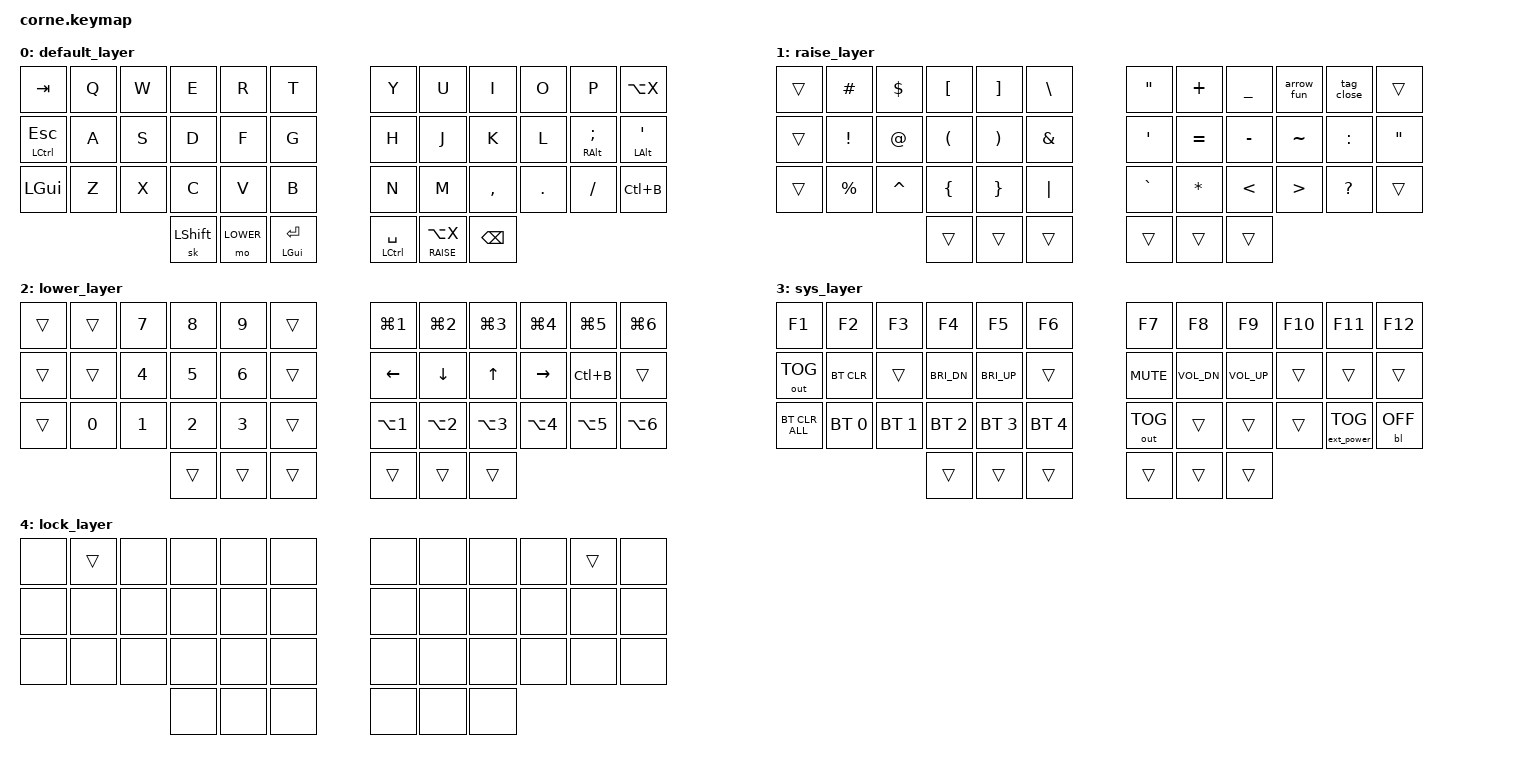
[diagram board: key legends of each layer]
#include <behaviors.dtsi>
#include <dt-bindings/zmk/keys.h>
#include <dt-bindings/zmk/bt.h>
#include <dt-bindings/zmk/backlight.h>
#include <dt-bindings/zmk/rgb.h>
#include <dt-bindings/zmk/ext_power.h>
#include <dt-bindings/zmk/outputs.h>

#define DEFAULT 0
#define RAISE   1
#define LOWER   2
#define SYS     3
#define LOCK    4

&mt {
    quick-tap-ms = <100>;
    tapping-term-ms = <220>;
    flavor = "tap-preferred";
};

&lt {
    quick-tap-ms = <100>;
    tapping-term-ms = <220>;
    flavor = "hold-preferred";
};

/ {
    macros {
        tmux_one: tmux_one {
            label = "tmux prefix";
            compatible = "zmk,behavior-macro";
            #binding-cells = <0>;
            bindings
                = <&macro_tap &kp LC(B)>
                , <&macro_tap &kp NUMBER_1>
                ;
        };

        tmux_two: tmux_two {
            label = "tmux prefix";
            compatible = "zmk,behavior-macro";
            #binding-cells = <0>;
            bindings
                = <&macro_tap &kp LC(B)>
                , <&macro_tap &kp NUMBER_2>
                ;
        };

        tmux_three: tmux_three {
            label = "tmux prefix";
            compatible = "zmk,behavior-macro";
            #binding-cells = <0>;
            bindings
                = <&macro_tap &kp LC(B)>
                , <&macro_tap &kp NUMBER_3>
                ;
        };

        tmux_four: tmux_four {
            label = "tmux prefix";
            compatible = "zmk,behavior-macro";
            #binding-cells = <0>;
            bindings
                = <&macro_tap &kp LC(B)>
                , <&macro_tap &kp NUMBER_4>
                ;
        };

        tmux_five: tmux_five {
            label = "tmux prefix";
            compatible = "zmk,behavior-macro";
            #binding-cells = <0>;
            bindings
                = <&macro_tap &kp LC(B)>
                , <&macro_tap &kp NUMBER_5>
                ;
        };

        tmux_six: tmux_six {
            label = "tmux prefix";
            compatible = "zmk,behavior-macro";
            #binding-cells = <0>;
            bindings
                = <&macro_tap &kp LC(B)>
                , <&macro_tap &kp NUMBER_6>
                ;
        };

        arrow_fun: arrow_fun {
            label = "arrow fun";
            compatible = "zmk,behavior-macro";
            #binding-cells = <0>;
            bindings
                = <&kp EQUAL &kp GT &kp SPACE>;
        };

        tag_close: tag_close {
            label = "tag close";
            compatible = "zmk,behavior-macro";
            #binding-cells = <0>;
            bindings
                = <&kp FSLH &kp GT>;
        };

        tmux_copy_mode: tmux_copy_mode {
            label = "tmux copy mode";
            compatible = "zmk,behavior-macro";
            #binding-cells = <0>;
            bindings
                = <&macro_tap &kp LC(B)>
                , <&macro_tap &kp LBKT>
                ;
        };

    };
};

/ {
    combos {
        compatible = "zmk,combos";
        combo_lock {
            timeout-ms = <50>;
            key-positions = <1 10>;
            bindings = <&tog LOCK>;
        };
        combo_unlock {
            timeout-ms = <1000>;
            key-positions = <1 10>;
            layers = <LOCK>;
            bindings = <&tog LOCK>;
        };

    };
};

/ {
    conditional_layers {
        compatible = "zmk,conditional-layers";
        tri_layer {
            if-layers = <LOWER RAISE>;
            then-layer = <SYS>;
        };
    };
}; 

/ {
        keymap {
                compatible = "zmk,keymap";

                default_layer {
                        bindings = <
   &kp TAB       &kp Q &kp W &kp E &kp R &kp T   &kp Y &kp U  &kp I     &kp O        &kp P         &kp LA(X)
   &mt LCTRL ESC &kp A &kp S &kp D &kp F &kp G   &kp H &kp J  &kp K     &kp L        &mt RALT SEMI &mt LALT SQT
   &kp LGUI      &kp Z &kp X &kp C &kp V &kp B   &kp N &kp M  &kp COMMA &kp DOT      &kp FSLH      &kp LC(B)
              &sk LSHFT &mo LOWER &mt LGUI RET   &mt LCTRL SPACE &lt RAISE LA(X) &kp BSPC
                        >;
                };

                raise_layer {
                        bindings = <
   &trans &kp HASH  &kp DOLLAR &kp LBKT &kp RBKT &kp BSLH     &kp DQT    &kp PLUS  &kp UNDER &arrow_fun &tag_close &trans
   &trans &kp EXCL  &kp AT     &kp LPAR &kp RPAR &kp AMPS     &kp APOS   &kp EQUAL &kp MINUS &kp TILDE  &kp COLON  &kp DQT
   &trans &kp PRCNT &kp CARET  &kp LBRC &kp RBRC &kp PIPE     &kp GRAVE  &kp STAR  &kp LT    &kp GT     &kp QMARK  &trans
                                   &trans &trans &trans       &trans &trans &trans
                        >;
                };

                lower_layer {
                        bindings = <
   &trans &trans &kp N7 &kp N8 &kp N9 &trans   &kp LG(NUMBER_1) &kp LG(NUMBER_2) &kp LG(NUMBER_3) &kp LG(NUMBER_4) &kp LG(NUMBER_5) &kp LG(NUMBER_6)
   &trans &trans &kp N4 &kp N5 &kp N6 &trans   &kp LEFT             &kp DOWN             &kp UP               &kp RIGHT            &kp LC(B)            &trans
   &trans &kp N0 &kp N1 &kp N2 &kp N3 &trans   &kp LA(NUMBER_1)     &kp LA(NUMBER_2)     &kp LA(NUMBER_3)     &kp LA(NUMBER_4)     &kp LA(NUMBER_5)     &kp LA(NUMBER_6)
                        &trans &trans &trans   &trans &trans &trans
                        >;
                };

                sys_layer {
                        bindings = <
   &kp F1         &kp F2       &kp F3       &kp F4       &kp F5       &kp F6         &kp F7       &kp F8       &kp F9       &kp F10 &kp F11            &kp F12
   &out OUT_TOG   &bt BT_CLR   &trans       &kp C_BRI_DN &kp C_BRI_UP &trans         &kp C_MUTE   &kp C_VOL_DN &kp C_VOL_UP &trans  &trans             &trans
   &bt BT_CLR_ALL &bt BT_SEL 0 &bt BT_SEL 1 &bt BT_SEL 2 &bt BT_SEL 3 &bt BT_SEL 4   &out OUT_TOG &trans       &trans       &trans  &ext_power EP_TOG  &bl BL_OFF
                                        &trans       &trans       &trans         &trans &trans &trans
                        >;
                };

                lock_layer {
                        bindings = <
   &none &trans &none &none &none &none   &none &none &none &none &trans &none
   &none &none  &none &none &none &none   &none &none &none &none &none  &none
   &none &none  &none &none &none &none   &none &none &none &none &none  &none
                      &none &none &none   &none &none &none
                        >;
                };
        };
};
